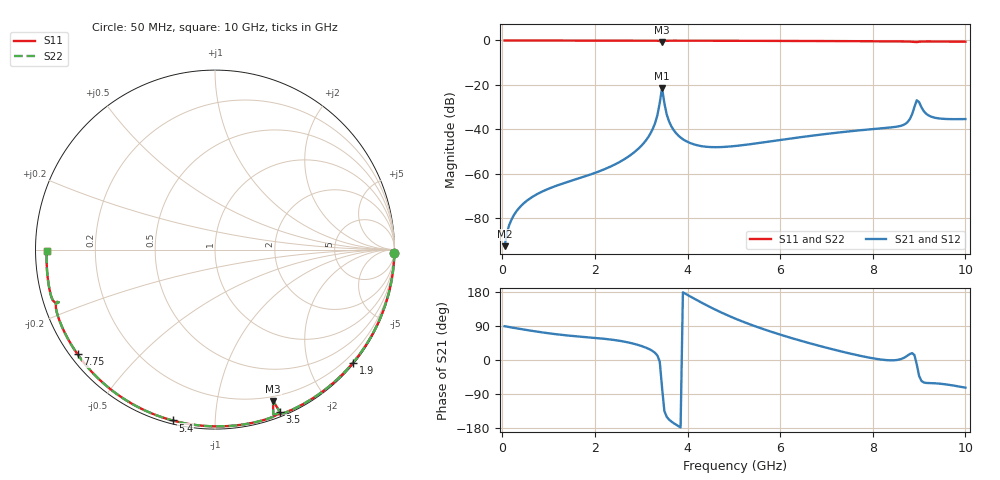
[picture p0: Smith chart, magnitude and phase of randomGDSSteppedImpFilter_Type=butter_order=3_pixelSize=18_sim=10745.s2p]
! freq	dB(S11)	phase(S11)	dB(S12)	phase(S12)
!  dB(S21)	phase(S21)	dB(S22)	phase(S22)
!S-par simulation data
#  GHz  S  DB  R 50
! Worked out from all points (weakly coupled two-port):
!   200 points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, 50 MHz to 10 GHz, reference 50 ohm
!   highest |S21| = -21.38 dB at 3.45 GHz (marker M1); lowest = -92.5 dB at 50 MHz (marker M2)
!   lowest |S11| = -0.9 dB at 3.45 GHz (marker M3), VSWR 19.65, Z = 7.89 - j72.2 ohm
!   |S11| at or under -10 dB: nowhere
!   |S22| runs from -0.9 to 0.0 dB; largest |S21 - S12| = 0
!   S11 on the Smith chart (normalised r, x): 50 MHz: open; 1.9 GHz: 0.03, -2.80; 3.5 GHz: 0.04, -1.48; 5.4 GHz: 0.02, -0.78; 7.75 GHz: 0.02, -0.34; 10 GHz: 0.03, -0.00
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0.05  -0.00 -1.1  -92.55 89.1  -92.55 89.1  -0.00 -1.1
0.2  -0.01 -4.2  -80.51 85.8  -80.51 85.8  -0.01 -4.2
0.8  -0.02 -16.8  -68.60 73.9  -68.60 73.9  -0.02 -16.8
1.75  -0.05 -36.3  -61.38 60.9  -61.38 60.9  -0.05 -36.3
1.9  -0.05 -39.3  -60.33 59.3  -60.33 59.3  -0.05 -39.3
3  -0.08 -61.1  -47.45 37.1  -47.45 37.1  -0.08 -61.1
3.25  -0.10 -66.2  -39.77 23.4  -39.77 23.4  -0.10 -66.2
3.4  -0.25 -70.5  -28.05 -4.3  -28.05 -4.3  -0.25 -70.5
3.45  -0.88 -69.0  -21.38 -73.0  -21.38 -73.0  -0.88 -69.0
3.5  -0.25 -68.2  -28.26 -134.9  -28.26 -134.9  -0.25 -68.2
3.65  -0.11 -72.4  -38.61 -162.3  -38.61 -162.3  -0.11 -72.4
3.95  -0.11 -78.3  -45.09 175.1  -45.09 175.1  -0.11 -78.3
4.4  -0.12 -86.5  -47.82 145.1  -47.82 145.1  -0.12 -86.5
5.05  -0.15 -97.9  -47.44 108.3  -47.44 108.3  -0.15 -97.9
5.4  -0.17 -104.0  -46.54 91.7  -46.54 91.7  -0.17 -104.0
6.7  -0.24 -125.6  -42.81 42.1  -42.81 42.1  -0.24 -125.6
7.75  -0.33 -142.7  -40.35 10.5  -40.35 10.5  -0.33 -142.7
8.35  -0.40 -152.5  -39.22 -0.7  -39.22 -0.7  -0.40 -152.5
8.75  -0.48 -159.2  -36.75 11.5  -36.75 11.5  -0.48 -159.2
8.95  -0.74 -161.4  -26.91 -11.5  -26.91 -11.5  -0.74 -161.4
9.25  -0.46 -166.6  -34.19 -61.0  -34.19 -61.0  -0.46 -166.6
10  -0.56 -179.6  -35.36 -73.0  -35.36 -73.0  -0.56 -179.6
